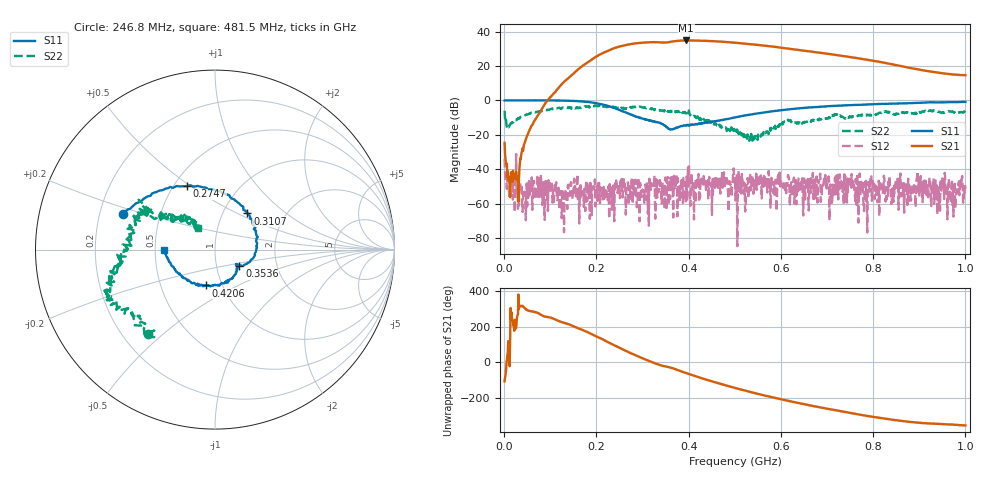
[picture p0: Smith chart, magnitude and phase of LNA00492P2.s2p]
! Created with skrf 1.9.0 (http://scikit-rf.org).
# Hz S RI R 50.0
!freq ReS11 ImS11 ReS21 ImS21 ReS12 ImS12 ReS22 ImS22
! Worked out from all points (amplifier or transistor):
!   1001 points, 1 MHz to 1 GHz, reference 50 ohm
!   highest |S21| = 34.8 dB at 394.6 MHz (marker M1)
!   |S21| within 3 dB of that: 258.2 MHz to 563.3 MHz (305.1 MHz wide, 74.3 % of centre)
!   unconditionally stable (mu >= 1): 204 MHz to 254.7 MHz; 258.8 MHz to 398.3 MHz; 401 MHz to end of sweep (the widest 3 of 34)
!   at 166.8 MHz: K = 2.10, MAG = 31.3 dB, |S12| = -55.2 dB
!   at 500.5 MHz: K = 1.64, MAG = 34.3 dB, |S12| = -44.5 dB
!   at 1 GHz: K = 5.32, MAG = 22.8 dB, |S12| = -51.4 dB
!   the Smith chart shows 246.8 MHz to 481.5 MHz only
!   S11 on the Smith chart (normalised r, x): 246.8 MHz: 0.30, +0.17; 274.7 MHz: 0.58, +0.48; 310.7 MHz: 1.30, +0.57; 353.6 MHz: 1.29, -0.25; 420.6 MHz: 0.84, -0.35; 481.5 MHz: 0.56, +0.00
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1000000  0.9924 0.0063  -0.0157 -0.0561  -0.0176 0.00976  0.3423 0.363
1.08892e8  0.5229 -0.8489  -0.7968 -1.462  0.00144 -0.00207  0.42 -0.395
1.67833e8  -0.2333 -0.9033  -9.567 -0.5409  0.00135 -0.00134  0.0407 -0.6335
2.11789e8  -0.6808 -0.3522  -14.9 17.41  -0.00136 -0.00238  -0.1996 -0.6427
2.46754e8  -0.5112 0.1972  2.631 35.51  -0.00296 -0.000956  -0.3739 -0.4681
2.74726e8  -0.1575 0.3538  26.98 33.71  -0.000619 -0.00106  -0.5297 -0.3194
3.1069e8  0.1804 0.2017  47.22 9.768  -0.00347 -0.000985  -0.5859 -0.1785
3.34666e8  0.2278 -0.0116  47.68 -9.812  -0.000414 0.00212  -0.5339 -0.0503
3.53647e8  0.1363 -0.0926  43.82 -20.12  0.000548 0.00549  -0.5007 0.0492
3.72628e8  0.1231 -0.1019  41.5 -33.32  0.00516 0.00386  -0.4525 0.1886
3.94606e8  0.0784 -0.1734  28.08 -47.29  -0.000848 0.00409  -0.3895 0.186
4.2058e8  -0.0504 -0.1995  7.814 -53.85  0.00351 0.00134  -0.2493 0.1594
4.49551e8  -0.1858 -0.1456  -13.25 -50.83  0.00325 -0.000944  -0.1461 0.197
4.81519e8  -0.2852 0.000134  -30.87 -38.81  0.00523 0.000548  -0.0963 0.1183
5.005e8  -0.303 0.1056  -37.61 -29.17  -0.000511 0.00595  -0.0869 0.1279
5.4046e8  -0.2399 0.3234  -41.14 -8.15  0.00105 0.00163  -0.09 -0.0219
5.85415e8  -0.0599 0.4867  -34.54 10.51  0.00259 -0.00298  -0.1476 -0.0801
6.25375e8  0.1286 0.5506  -23.67 19.37  0.00181 -0.000961  -0.2056 -0.122
6.67333e8  0.329 0.5368  -12.28 22.7  0.00266 -0.0031  -0.2462 -0.0594
7.53247e8  0.6287 0.3685  3.938 17.36  -0.00714 -0.00132  -0.334 0.0298
8.34166e8  0.787 0.1443  8.438 8.063  -0.00177 -0.00195  -0.4443 0.0935
1e9  0.8186 -0.3874  5.328 0.8318  -0.00104 -0.00249  -0.1876 0.4117
